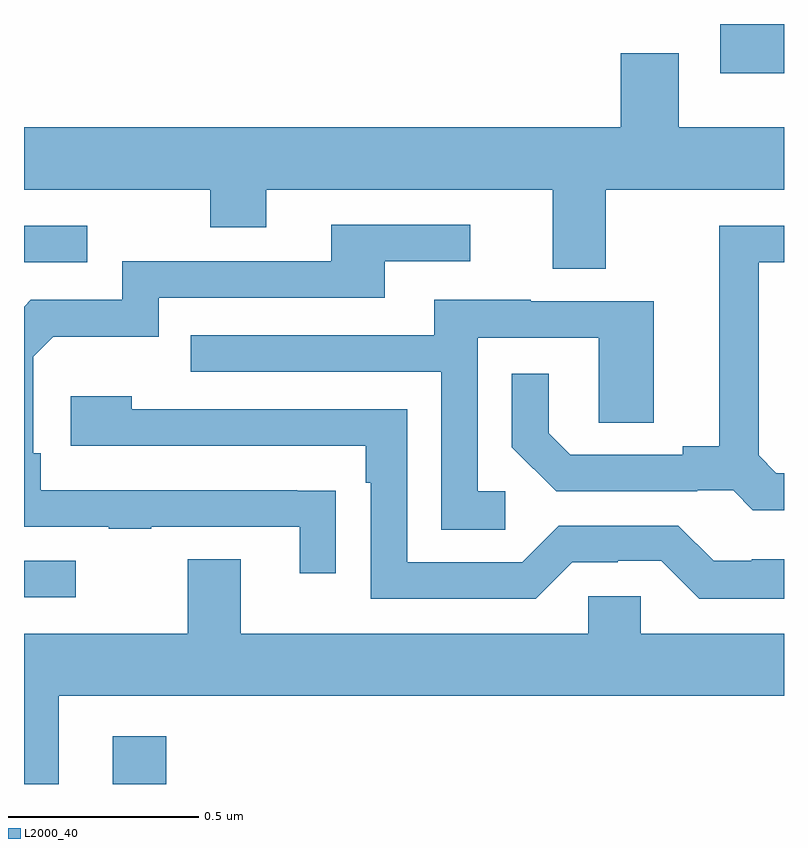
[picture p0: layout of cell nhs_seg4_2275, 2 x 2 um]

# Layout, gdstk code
import gdstk
lib = gdstk.Library(unit=1e-6, precision=1e-09)
def R(c, l, rs):  # rectangles x0, y0, x1, y1
    for r in rs: c.add(gdstk.rectangle(r[:2], r[2:], *l))
def P(c, l, *ps):  # polygons
    for p in ps: c.add(gdstk.Polygon(p, *l))
L2000_40 = (2000, 40)

nhs_seg4_2275 = lib.new_cell('nhs_seg4_2275')
R(nhs_seg4_2275, L2000_40, [(138.233,817.9,138.374,818.026), (138,818.391,138.136,818.487), (138,819.273,138.166,819.369), (139.832,819.77,140,819.9)])
P(nhs_seg4_2275, L2000_40, [(139.531,819.464),(140,819.464),(140,819.628),(139.723,819.628),(139.723,819.823),(139.571,819.823),(139.571,819.628),(138,819.628),(138,819.464),(138.49,819.464),(138.49,819.365),(138.637,819.365),(138.637,819.464),(139.391,819.464),(139.391,819.256),(139.531,819.256)],
  [(138.821,818.672),(138.719,818.672),(138.719,818.673),(138.044,818.673),(138.044,818.77),(138.024,818.77),(138.024,819.024),(138.077,819.077),(138.354,819.077),(138.354,819.18),(138.949,819.18),(138.949,819.276),(139.174,819.276),(139.174,819.372),(138.809,819.372),(138.809,819.276),(138.258,819.276),(138.258,819.174),(138.018,819.174),(138,819.156),(138,818.577),(138.223,818.577),(138.223,818.572),(138.335,818.572),(138.335,818.577),(138.725,818.577),(138.725,818.454),(138.821,818.454)],
  [(140,818.718),(139.98,818.718),(139.933,818.765),(139.933,819.273),(140,819.273),(140,819.369),(139.829,819.369),(139.829,818.789),(139.733,818.789),(139.733,818.766),(139.438,818.766),(139.381,818.823),(139.381,818.98),(139.284,818.98),(139.284,818.786),(139.4,818.67),(139.772,818.67),(139.772,818.673),(139.866,818.673),(139.918,818.621),(140,818.621)],
  [(139.267,818.67),(139.194,818.67),(139.194,819.075),(139.512,819.075),(139.512,818.851),(139.657,818.851),(139.657,819.171),(139.333,819.171),(139.333,819.175),(139.079,819.175),(139.079,819.081),(138.439,819.081),(138.439,818.985),(139.098,818.985),(139.098,818.569),(139.267,818.569)],
  [(140,818.491),(139.915,818.491),(139.915,818.487),(139.815,818.487),(139.722,818.58),(139.407,818.58),(139.311,818.484),(139.008,818.484),(139.008,818.886),(138.284,818.886),(138.284,818.92),(138.123,818.92),(138.123,818.79),(138.899,818.79),(138.899,818.693),(138.912,818.693),(138.912,818.388),(139.347,818.388),(139.443,818.484),(139.562,818.484),(139.562,818.487),(139.677,818.487),(139.777,818.387),(140,818.387)],
  [(138,817.9),(138.091,817.9),(138.091,818.132),(140,818.132),(140,818.296),(139.623,818.296),(139.623,818.394),(139.485,818.394),(139.485,818.296),(138.571,818.296),(138.571,818.491),(138.431,818.491),(138.431,818.296),(138,818.296)])

lib.write_gds('nhs_seg4_2275.gds')
